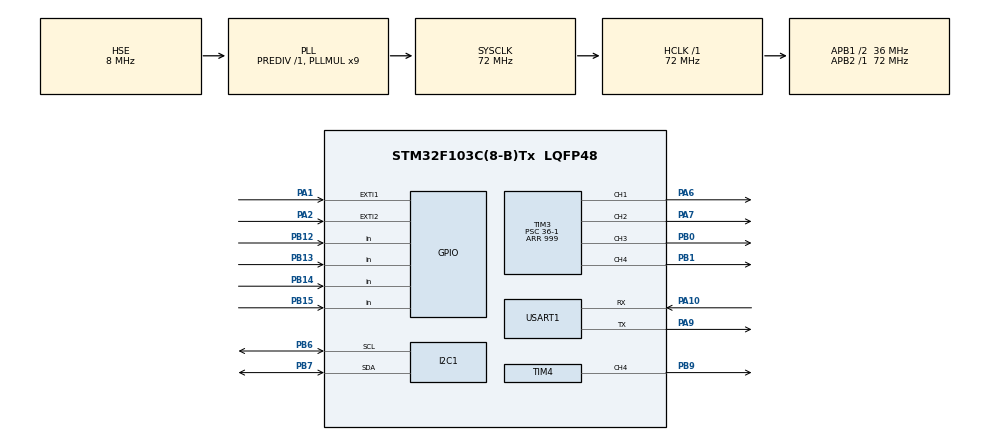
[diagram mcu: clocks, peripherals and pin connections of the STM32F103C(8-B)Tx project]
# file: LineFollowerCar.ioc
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Mcu.Family=STM32F1
Mcu.Name=STM32F103C(8-B)Tx
Mcu.Package=LQFP48
NVIC.PriorityGroup=NVIC_PRIORITYGROUP_4
NVIC.TIM2_IRQn=true\:0\:0\:false\:false\:true\:true\:true\:true
NVIC.USART1_IRQn=true\:0\:0\:false\:false\:true\:true\:true\:true
PA1.Signal=GPXTI1
PA10.Mode=Asynchronous
PA10.Signal=USART1_RX
PA13.Mode=Serial_Wire
PA13.Signal=SYS_JTMS-SWDIO
PA14.Mode=Serial_Wire
PA14.Signal=SYS_JTCK-SWCLK
PA2.Signal=GPXTI2
PA6.Signal=S_TIM3_CH1
PA7.Signal=S_TIM3_CH2
PA9.Mode=Asynchronous
PA9.Signal=USART1_TX
PB0.Signal=S_TIM3_CH3
PB1.Signal=S_TIM3_CH4
PB12.Signal=GPIO_Input
PB13.Signal=GPIO_Input
PB14.Signal=GPIO_Input
PB15.Signal=GPIO_Input
PB6.Mode=I2C
PB6.Signal=I2C1_SCL
PB7.Mode=I2C
PB7.Signal=I2C1_SDA
PB9.Signal=S_TIM4_CH4
PD0-OSC_IN.Mode=HSE-External-Oscillator
PD0-OSC_IN.Signal=RCC_OSC_IN
PD1-OSC_OUT.Mode=HSE-External-Oscillator
PD1-OSC_OUT.Signal=RCC_OSC_OUT
ProjectManager.HeapSize=0x200
ProjectManager.StackSize=0x400
ProjectManager.TargetToolchain=MDK-ARM V5.32
RCC.AHBFreq_Value=72000000
RCC.APB1CLKDivider=RCC_HCLK_DIV2
RCC.APB1Freq_Value=36000000
RCC.APB1TimFreq_Value=72000000
RCC.APB2Freq_Value=72000000
RCC.APB2TimFreq_Value=72000000
RCC.HCLKFreq_Value=72000000
RCC.PLLMUL=RCC_PLL_MUL9
RCC.PLLSourceVirtual=RCC_PLLSOURCE_HSE
RCC.SYSCLKFreq_VALUE=72000000
RCC.SYSCLKSource=RCC_SYSCLKSOURCE_PLLCLK
RCC.USBFreq_Value=72000000
SH.S_TIM3_CH1.0=TIM3_CH1,PWM Generation1 CH1
SH.S_TIM3_CH2.0=TIM3_CH2,PWM Generation2 CH2
SH.S_TIM3_CH3.0=TIM3_CH3,PWM Generation3 CH3
SH.S_TIM3_CH4.0=TIM3_CH4,PWM Generation4 CH4
SH.S_TIM4_CH4.0=TIM4_CH4,PWM Generation4 CH4
TIM2.Period=1000-1
TIM2.Prescaler=72-1
TIM3.Channel-PWM\ Generation1\ CH1=TIM_CHANNEL_1
TIM3.Channel-PWM\ Generation2\ CH2=TIM_CHANNEL_2
TIM3.Channel-PWM\ Generation3\ CH3=TIM_CHANNEL_3
TIM3.Channel-PWM\ Generation4\ CH4=TIM_CHANNEL_4
TIM3.Period=999
TIM3.Prescaler=36-1
TIM4.Channel-PWM\ Generation4\ CH4=TIM_CHANNEL_4
TIM4.Period=200-1
TIM4.Prescaler=720-1
USART1.VirtualMode=VM_ASYNC
VP_TIM2_VS_ClockSourceINT.Mode=Internal
VP_TIM4_VS_ClockSourceINT.Mode=Internal
board=custom

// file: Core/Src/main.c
/* USER CODE BEGIN Header */
/**
  ******************************************************************************
  * @file           : main.c
  * @brief          : Main program body
  ******************************************************************************
  * @attention
  *
  * Copyright (c) 2026 STMicroelectronics.
  * All rights reserved.
  *
  * This software is licensed under terms that can be found in the LICENSE file
  * in the root directory of this software component.
  * If no LICENSE file comes with this software, it is provided AS-IS.
  *
  ******************************************************************************
  */
/* USER CODE END Header */
#include "main.h"

/* USER CODE BEGIN Includes */
#include <stdio.h>
#include "oled.h"
#include "font.h"
#include "global.h"
#include "sensor.h"
#include "uart.h"
#include "motor.h"
#include "servo.h"

/* USER CODE END Includes */

I2C_HandleTypeDef hi2c1;

TIM_HandleTypeDef htim2;
TIM_HandleTypeDef htim3;
TIM_HandleTypeDef htim4;

UART_HandleTypeDef huart1;

void SystemClock_Config(void);
static void MX_GPIO_Init(void);
static void MX_I2C1_Init(void);
static void MX_TIM2_Init(void);
static void MX_TIM3_Init(void);
static void MX_TIM4_Init(void);
static void MX_USART1_UART_Init(void);

/* USER CODE BEGIN 0 */
void oled_cai(void){
    OLED_NewFrame();
    OLED_DrawImage(0,0,&caiImg,OLED_COLOR_NORMAL);
    OLED_ShowFrame();
    HAL_Delay(3000);
}
/* USER CODE END 0 */

int main(void)
{

  /* MCU Configuration--------------------------------------------------------*/

  /* Reset of all peripherals, Initializes the Flash interface and the Systick. */
  HAL_Init();

  /* Configure the system clock */
  SystemClock_Config();

  /* Initialize all configured peripherals */
  MX_GPIO_Init();
  MX_I2C1_Init();
  MX_TIM2_Init();
  MX_TIM3_Init();
  MX_TIM4_Init();
  MX_USART1_UART_Init();
  /* USER CODE BEGIN 2 */
  Motor_Init();
  servo_init();
  HAL_Delay(20);
  OLED_Init();
  HAL_UART_Receive_IT(&huart1,&value,1);
//  oled_cai();

//  char mKP[20];
//  char mKD[20];
//  char mbase[20];
//  char cor[10];
//  char sta_char[8];
  HAL_Delay(2000);
  motor_set(700,700);
  HAL_Delay(200);
  /* USER CODE END 2 */

  /* Infinite loop */
  /* USER CODE BEGIN WHILE */
  while (1)
  {

  if(1/*start_flag*/){
      if(IFPID){
      Calculate_pid(state);      //pid控制方式
      }else{
      CalculateIfelse();    //if-else控制方式
      }

  }else if(stop_flag){

    motor_set(0, 0);

  }

//oled显示

//  sprintf(mKP, "KP: %.2f", Kp);
//  sprintf(mKD, "KD: %.2f", Kd);
//  sprintf(mbase, "BASE: %d", BASE_SPEED);
//  sprintf(cor,"cor:%4d",correction);
//  sprintf(sta_char,"sta:%d%d%d%d",state[0],state[1],state[2],state[3]);
//
//
//  if(IFPID){
//    OLED_NewFrame();
//    OLED_PrintString(0, 0, "MODE: PID", &font16x16, OLED_COLOR_NORMAL);
//    OLED_PrintString(0, 16, mKP, &font16x16, OLED_COLOR_NORMAL);
//    OLED_PrintString(64, 16, mKD, &font16x16, OLED_COLOR_NORMAL);
//    OLED_PrintString(0, 32, mbase, &font16x16, OLED_COLOR_NORMAL);
//    OLED_PrintString(0, 48, cor, &font16x16, OLED_COLOR_NORMAL);
//  }else{
//    OLED_NewFrame();
//    OLED_PrintString(0, 0, "MODE: IF-ELSE", &font16x16, OLED_COLOR_NORMAL);
//    OLED_PrintString(0, 16, sta_char, &font16x16, OLED_COLOR_NORMAL);
//    OLED_PrintString(0, 32, mbase, &font16x16, OLED_COLOR_NORMAL);
//    OLED_PrintString(0, 48, cor, &font16x16, OLED_COLOR_NORMAL);
//  }

//  OLED_ShowFrame();

//处理串口命令
    if(rxcplt_flag){
        readcmd(cmd);
        rxcplt_flag = 0;
        ifrxstart = 0;
    }

}
    /* USER CODE END WHILE */

}

void SystemClock_Config(void)
{
  RCC_OscInitTypeDef RCC_OscInitStruct = {0};
  RCC_ClkInitTypeDef RCC_ClkInitStruct = {0};

  /** Initializes the RCC Oscillators according to the specified parameters
  * in the RCC_OscInitTypeDef structure.
  */
  RCC_OscInitStruct.OscillatorType = RCC_OSCILLATORTYPE_HSE;
  RCC_OscInitStruct.HSEState = RCC_HSE_ON;
  RCC_OscInitStruct.HSEPredivValue = RCC_HSE_PREDIV_DIV1;
  RCC_OscInitStruct.HSIState = RCC_HSI_ON;
  RCC_OscInitStruct.PLL.PLLState = RCC_PLL_ON;
  RCC_OscInitStruct.PLL.PLLSource = RCC_PLLSOURCE_HSE;
  RCC_OscInitStruct.PLL.PLLMUL = RCC_PLL_MUL9;
  if (HAL_RCC_OscConfig(&RCC_OscInitStruct) != HAL_OK)
  {
    Error_Handler();
  }

  /** Initializes the CPU, AHB and APB buses clocks
  */
  RCC_ClkInitStruct.ClockType = RCC_CLOCKTYPE_HCLK|RCC_CLOCKTYPE_SYSCLK
                              |RCC_CLOCKTYPE_PCLK1|RCC_CLOCKTYPE_PCLK2;
  RCC_ClkInitStruct.SYSCLKSource = RCC_SYSCLKSOURCE_PLLCLK;
  RCC_ClkInitStruct.AHBCLKDivider = RCC_SYSCLK_DIV1;
  RCC_ClkInitStruct.APB1CLKDivider = RCC_HCLK_DIV2;
  RCC_ClkInitStruct.APB2CLKDivider = RCC_HCLK_DIV1;

  if (HAL_RCC_ClockConfig(&RCC_ClkInitStruct, FLASH_LATENCY_2) != HAL_OK)
  {
    Error_Handler();
  }
}

static void MX_I2C1_Init(void)
{

  hi2c1.Instance = I2C1;
  hi2c1.Init.ClockSpeed = 100000;
  hi2c1.Init.DutyCycle = I2C_DUTYCYCLE_2;
  hi2c1.Init.OwnAddress1 = 0;
  hi2c1.Init.AddressingMode = I2C_ADDRESSINGMODE_7BIT;
  hi2c1.Init.DualAddressMode = I2C_DUALADDRESS_DISABLE;
  hi2c1.Init.OwnAddress2 = 0;
  hi2c1.Init.GeneralCallMode = I2C_GENERALCALL_DISABLE;
  hi2c1.Init.NoStretchMode = I2C_NOSTRETCH_DISABLE;
  if (HAL_I2C_Init(&hi2c1) != HAL_OK)
  {
    Error_Handler();
  }

}

static void MX_TIM2_Init(void)
{

  TIM_ClockConfigTypeDef sClockSourceConfig = {0};
  TIM_MasterConfigTypeDef sMasterConfig = {0};

  htim2.Instance = TIM2;
  htim2.Init.Prescaler = 72-1;
  htim2.Init.CounterMode = TIM_COUNTERMODE_UP;
  htim2.Init.Period = 1000-1;
  htim2.Init.ClockDivision = TIM_CLOCKDIVISION_DIV1;
  htim2.Init.AutoReloadPreload = TIM_AUTORELOAD_PRELOAD_DISABLE;
  if (HAL_TIM_Base_Init(&htim2) != HAL_OK)
  {
    Error_Handler();
  }
  sClockSourceConfig.ClockSource = TIM_CLOCKSOURCE_INTERNAL;
  if (HAL_TIM_ConfigClockSource(&htim2, &sClockSourceConfig) != HAL_OK)
  {
    Error_Handler();
  }
  sMasterConfig.MasterOutputTrigger = TIM_TRGO_RESET;
  sMasterConfig.MasterSlaveMode = TIM_MASTERSLAVEMODE_DISABLE;
  if (HAL_TIMEx_MasterConfigSynchronization(&htim2, &sMasterConfig) != HAL_OK)
  {
    Error_Handler();
  }

}

static void MX_TIM3_Init(void)
{

  TIM_MasterConfigTypeDef sMasterConfig = {0};
  TIM_OC_InitTypeDef sConfigOC = {0};

  htim3.Instance = TIM3;
  htim3.Init.Prescaler = 36-1;
  htim3.Init.CounterMode = TIM_COUNTERMODE_UP;
  htim3.Init.Period = 999;
  htim3.Init.ClockDivision = TIM_CLOCKDIVISION_DIV1;
  htim3.Init.AutoReloadPreload = TIM_AUTORELOAD_PRELOAD_DISABLE;
  if (HAL_TIM_PWM_Init(&htim3) != HAL_OK)
  {
    Error_Handler();
  }
  sMasterConfig.MasterOutputTrigger = TIM_TRGO_RESET;
  sMasterConfig.MasterSlaveMode = TIM_MASTERSLAVEMODE_DISABLE;
  if (HAL_TIMEx_MasterConfigSynchronization(&htim3, &sMasterConfig) != HAL_OK)
  {
    Error_Handler();
  }
  sConfigOC.OCMode = TIM_OCMODE_PWM1;
  sConfigOC.Pulse = 0;
  sConfigOC.OCPolarity = TIM_OCPOLARITY_HIGH;
  sConfigOC.OCFastMode = TIM_OCFAST_DISABLE;
  if (HAL_TIM_PWM_ConfigChannel(&htim3, &sConfigOC, TIM_CHANNEL_1) != HAL_OK)
  {
    Error_Handler();
  }
  if (HAL_TIM_PWM_ConfigChannel(&htim3, &sConfigOC, TIM_CHANNEL_2) != HAL_OK)
  {
    Error_Handler();
  }
  if (HAL_TIM_PWM_ConfigChannel(&htim3, &sConfigOC, TIM_CHANNEL_3) != HAL_OK)
  {
    Error_Handler();
  }
  if (HAL_TIM_PWM_ConfigChannel(&htim3, &sConfigOC, TIM_CHANNEL_4) != HAL_OK)
  {
    Error_Handler();
  }
  HAL_TIM_MspPostInit(&htim3);

}

static void MX_TIM4_Init(void)
{

  TIM_ClockConfigTypeDef sClockSourceConfig = {0};
  TIM_MasterConfigTypeDef sMasterConfig = {0};
  TIM_OC_InitTypeDef sConfigOC = {0};

  htim4.Instance = TIM4;
  htim4.Init.Prescaler = 720-1;
  htim4.Init.CounterMode = TIM_COUNTERMODE_UP;
  htim4.Init.Period = 200-1;
  htim4.Init.ClockDivision = TIM_CLOCKDIVISION_DIV1;
  htim4.Init.AutoReloadPreload = TIM_AUTORELOAD_PRELOAD_DISABLE;
  if (HAL_TIM_Base_Init(&htim4) != HAL_OK)
  {
    Error_Handler();
  }
  sClockSourceConfig.ClockSource = TIM_CLOCKSOURCE_INTERNAL;
  if (HAL_TIM_ConfigClockSource(&htim4, &sClockSourceConfig) != HAL_OK)
  {
    Error_Handler();
  }
  if (HAL_TIM_PWM_Init(&htim4) != HAL_OK)
  {
    Error_Handler();
  }
  sMasterConfig.MasterOutputTrigger = TIM_TRGO_RESET;
  sMasterConfig.MasterSlaveMode = TIM_MASTERSLAVEMODE_DISABLE;
  if (HAL_TIMEx_MasterConfigSynchronization(&htim4, &sMasterConfig) != HAL_OK)
  {
    Error_Handler();
  }
  sConfigOC.OCMode = TIM_OCMODE_PWM1;
  sConfigOC.Pulse = 0;
  sConfigOC.OCPolarity = TIM_OCPOLARITY_HIGH;
  sConfigOC.OCFastMode = TIM_OCFAST_DISABLE;
  if (HAL_TIM_PWM_ConfigChannel(&htim4, &sConfigOC, TIM_CHANNEL_4) != HAL_OK)
  {
    Error_Handler();
  }
  HAL_TIM_MspPostInit(&htim4);

}

static void MX_USART1_UART_Init(void)
{

  huart1.Instance = USART1;
  huart1.Init.BaudRate = 115200;
  huart1.Init.WordLength = UART_WORDLENGTH_8B;
  huart1.Init.StopBits = UART_STOPBITS_1;
  huart1.Init.Parity = UART_PARITY_NONE;
  huart1.Init.Mode = UART_MODE_TX_RX;
  huart1.Init.HwFlowCtl = UART_HWCONTROL_NONE;
  huart1.Init.OverSampling = UART_OVERSAMPLING_16;
  if (HAL_UART_Init(&huart1) != HAL_OK)
  {
    Error_Handler();
  }

}

static void MX_GPIO_Init(void)
{
  GPIO_InitTypeDef GPIO_InitStruct = {0};

  /* GPIO Ports Clock Enable */
  __HAL_RCC_GPIOD_CLK_ENABLE();
  __HAL_RCC_GPIOA_CLK_ENABLE();
  __HAL_RCC_GPIOB_CLK_ENABLE();

  /*Configure GPIO pins : PA1 PA2 */
  GPIO_InitStruct.Pin = GPIO_PIN_1|GPIO_PIN_2;
  GPIO_InitStruct.Mode = GPIO_MODE_IT_RISING;
  GPIO_InitStruct.Pull = GPIO_NOPULL;
  HAL_GPIO_Init(GPIOA, &GPIO_InitStruct);

  /*Configure GPIO pins : PB12 PB13 PB14 PB15 */
  GPIO_InitStruct.Pin = GPIO_PIN_12|GPIO_PIN_13|GPIO_PIN_14|GPIO_PIN_15;
  GPIO_InitStruct.Mode = GPIO_MODE_INPUT;
  GPIO_InitStruct.Pull = GPIO_NOPULL;
  HAL_GPIO_Init(GPIOB, &GPIO_InitStruct);

}

void Error_Handler(void)
{
  __disable_irq();
  while (1)
  {
  }
}
